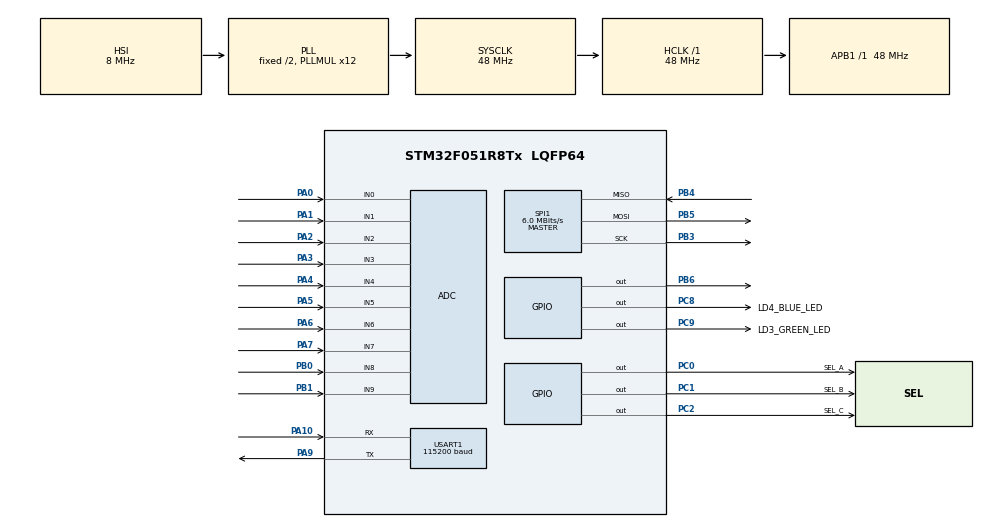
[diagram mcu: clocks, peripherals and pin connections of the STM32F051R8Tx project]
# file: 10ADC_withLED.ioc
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ADC.ClockPrescaler=ADC_CLOCK_ASYNC_DIV1
ADC.ContinuousConvMode=ENABLE
ADC.DMAContinuousRequests=ENABLE
ADC.ExternalTrigConv=ADC_EXTERNALTRIGCONV_T1_TRGO
ADC.SamplingTime=ADC_SAMPLETIME_239CYCLES_5
Dma.ADC.0.Direction=DMA_PERIPH_TO_MEMORY
Dma.ADC.0.Instance=DMA1_Channel1
Dma.ADC.0.MemDataAlignment=DMA_MDATAALIGN_HALFWORD
Dma.ADC.0.MemInc=DMA_MINC_ENABLE
Dma.ADC.0.Mode=DMA_CIRCULAR
Dma.ADC.0.PeriphDataAlignment=DMA_PDATAALIGN_HALFWORD
Dma.ADC.0.PeriphInc=DMA_PINC_DISABLE
Dma.ADC.0.Priority=DMA_PRIORITY_LOW
Dma.Request0=ADC
FATFS._MAX_SS=512
FATFS._USE_LFN=1
Mcu.Family=STM32F0
Mcu.Name=STM32F051R8Tx
Mcu.Package=LQFP64
NVIC.DMA1_Channel1_IRQn=true\:0\:0\:false\:false\:true\:false\:true
NVIC.USART1_IRQn=true\:0\:0\:false\:false\:true\:true\:true
PA0.Mode=IN0
PA0.Signal=ADC_IN0
PA1.Mode=IN1
PA1.Signal=ADC_IN1
PA10.Mode=Asynchronous
PA10.Signal=USART1_RX
PA13.Mode=Serial_Wire
PA13.Signal=SYS_SWDIO
PA14.Mode=Serial_Wire
PA14.Signal=SYS_SWCLK
PA2.Mode=IN2
PA2.Signal=ADC_IN2
PA3.Mode=IN3
PA3.Signal=ADC_IN3
PA4.Mode=IN4
PA4.Signal=ADC_IN4
PA5.Mode=IN5
PA5.Signal=ADC_IN5
PA6.Mode=IN6
PA6.Signal=ADC_IN6
PA7.Mode=IN7
PA7.Signal=ADC_IN7
PA9.Mode=Asynchronous
PA9.Signal=USART1_TX
PB0.Mode=IN8
PB0.Signal=ADC_IN8
PB1.Mode=IN9
PB1.Signal=ADC_IN9
PB3.Mode=Full_Duplex_Master
PB3.Signal=SPI1_SCK
PB4.Mode=Full_Duplex_Master
PB4.Signal=SPI1_MISO
PB5.Mode=Full_Duplex_Master
PB5.Signal=SPI1_MOSI
PB6.Signal=GPIO_Output
PC0.GPIO_Label=SEL_A
PC0.Signal=GPIO_Output
PC1.GPIO_Label=SEL_B
PC1.Signal=GPIO_Output
PC2.GPIO_Label=SEL_C
PC2.Signal=GPIO_Output
PC8.GPIO_Label=LD4_BLUE_LED
PC8.Signal=GPIO_Output
PC9.GPIO_Label=LD3_GREEN_LED
PC9.Signal=GPIO_Output
ProjectManager.HeapSize=0x200
ProjectManager.StackSize=0x400
ProjectManager.TargetToolchain=TrueSTUDIO
RCC.AHBFreq_Value=48000000
RCC.APB1Freq_Value=48000000
RCC.APB1TimFreq_Value=48000000
RCC.HCLKFreq_Value=48000000
RCC.PLLMUL=RCC_PLL_MUL12
RCC.SYSCLKFreq_VALUE=48000000
RCC.SYSCLKSource=RCC_SYSCLKSOURCE_PLLCLK
SPI1.BaudRatePrescaler=SPI_BAUDRATEPRESCALER_8
SPI1.CalculateBaudRate=6.0 MBits/s
SPI1.DataSize=SPI_DATASIZE_8BIT
SPI1.Direction=SPI_DIRECTION_2LINES
SPI1.Mode=SPI_MODE_MASTER
SPI1.VirtualType=VM_MASTER
TIM1.AutoReloadPreload=TIM_AUTORELOAD_PRELOAD_ENABLE
TIM1.Channel-Output\ Compare4\ No\ Output=TIM_CHANNEL_4
TIM1.Period=2-1
TIM1.Prescaler=4000-1
TIM1.TIM_MasterOutputTrigger=TIM_TRGO_UPDATE
USART1.BaudRate=115200
USART1.VirtualMode-Asynchronous=VM_ASYNC
VP_FATFS_VS_Generic.Mode=User_defined
VP_TIM1_VS_ClockSourceINT.Mode=Internal
VP_TIM1_VS_no_output4.Mode=Output Compare4 No Output
board=STM32F0DISCOVERY

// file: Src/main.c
/* USER CODE BEGIN Header */
/**
 ******************************************************************************
 * @file           : main.c
 * @brief          : Main program body
 ******************************************************************************
 * @attention
 *
 * <h2><center>&copy; Copyright (c) 2020 STMicroelectronics.
 * All rights reserved.</center></h2>
 *
 * This software component is licensed by ST under BSD 3-Clause license,
 * the "License"; You may not use this file except in compliance with the
 * License. You may obtain a copy of the License at:
 *                        opensource.org/licenses/BSD-3-Clause
 *
 *
 * This code will blink the blue led while it waits for user to press b1
 * this will trigger the adc inputs --> serial
 * BAUD RATE = 115200
 * TX --> PA9
 * RX --> PA10
 *
 * Push Button
 * PA0
 *
 * LED
 * Blue --> PC8
 * Green -> PC9
 *
 *
 * ADC
 * 1 --> PA1
 * 2 --> PA2
 * 3 --> PA3
 * 4 --> PA4
 * 5 --> PA5
 * 6 --> PA6
 * 7 --> PA7
 * 8 --> PB0
 * 9 --> PB1
 * 10 -> PC0
 *
 * SPI
 * SCK --> PB3
 * MISO -> PB4
 * MOSI -> PB5
 * CS  --> PB6
 *
 *
 * Questions to ponder:
 * - what value of Max_ss --> max sector size are needed
 * 	I cannot do 4096 --> currently at 512
 *
 *
 * Resources Used:
 * https://www.youtube.com/watch?v=spVIZO-jbxE
 *
 * new resources:
 * - https://01001000.xyz/2020-08-09-Tutorial-STM32CubeIDE-SD-card/
 * - https://github.com/kiwih/cubeide-sd-card
 *
 ******************************************************************************
 */
/* USER CODE END Header */
#include "main.h"
#include "fatfs.h"

/* USER CODE BEGIN Includes */
//#include <fatfs_sd.h>
#include <string.h>
#include <inttypes.h>
/* USER CODE END Includes */

/* USER CODE BEGIN PD */
#define SHOW_UART_WRITE 0
#define ADC_NUM_CHANNELS 10
#define ADC_PRINT_BUF_SIZE 480
#define ADC_NUM_MUX_CHANNELS 30

#define CMD_START 's'
#define CMD_CREATE_DEFAULT 'd'
#define ACK_INVALID 'e'
#define CMD_VIEW 'v'
#define CMD_HALT 'f'
#define CMD_LOAD 'l'
#define CMD_HELP 'h'

#define UART_BUF_SIZE 1
#define MSG_STR_SIZE 30
/* USER CODE END PD */

ADC_HandleTypeDef hadc;
DMA_HandleTypeDef hdma_adc;

SPI_HandleTypeDef hspi1;

TIM_HandleTypeDef htim1;

UART_HandleTypeDef huart1;

void SystemClock_Config(void);
static void MX_GPIO_Init(void);
static void MX_DMA_Init(void);
static void MX_SPI1_Init(void);
static void MX_USART1_UART_Init(void);
static void MX_ADC_Init(void);
static void MX_TIM1_Init(void);

/* USER CODE BEGIN 0 */
enum STATE {
	IDLE,
	HELPING,
	LOADING_FILE,
	LOADED,
	VIEWING,
	RUNNING,
	CREATING_FILE,
	CLOSING_FILE
};

enum STATE cur_state = IDLE;

volatile int muxState = 0;

volatile uint16_t adc_buf[ADC_NUM_CHANNELS]; //working buffer for the adc values
volatile uint16_t adc_print_buf[ADC_PRINT_BUF_SIZE]; //to current buffer for the adc values
volatile int adc_flag = 0;
volatile int adc_buf_ready = 0;
volatile int adc_print_buf_ofset = 0;

volatile int line_count = 0;
volatile int numConversions = 0;
volatile int numPrints = 0;

char RxData[UART_BUF_SIZE];

FATFS fs;          // file system
FIL fil;           // file
FRESULT fresult;   // to store the result
//char buffer[1024]; // to store data

UINT br, bw; // file read/write count

/* capacity related variables */
FATFS *pfs;
DWORD fre_clust;
uint32_t total, free_space;

volatile int bp = 0;                   //number of times button has been pressed
char str[MSG_STR_SIZE]; //string var for sending to usart

char name[9];

const MSG_WELCOME = "Begin 8 Chan ADC to Micro SD\n";

/* USER CODE END 0 */

int main(void)
{

  /* MCU Configuration--------------------------------------------------------*/

  /* Reset of all peripherals, Initializes the Flash interface and the Systick. */
  HAL_Init();

  /* Configure the system clock */
  SystemClock_Config();

  /* Initialize all configured peripherals */
  MX_GPIO_Init();
  MX_DMA_Init();
  MX_SPI1_Init();
  MX_USART1_UART_Init();
  MX_FATFS_Init();
  MX_ADC_Init();
  MX_TIM1_Init();
  /* USER CODE BEGIN 2 */

	HAL_UART_Receive_IT(&huart1, (uint8_t *) &RxData, UART_BUF_SIZE);

	send_uart("Begin 10 Chan ADC to Micro SD\n");

	// Calibrate The ADC On Power-Up For Better Accuracy
	HAL_ADCEx_Calibration_Start(&hadc);

	HAL_TIM_Base_Start_IT(&htim1);

  /* USER CODE END 2 */

  /* Infinite loop */
  /* USER CODE BEGIN WHILE */
	while (1) {
		switch (cur_state) {
		case IDLE:
			blink(1, LD4_BLUE_LED_GPIO_Port, LD4_BLUE_LED_Pin);
			break;
		case HELPING:
			//print commands
			send_uart("s\nd\nv\nf\n");
			break;
		case LOADING_FILE:
			break;
		case CREATING_FILE:
			mount_sd();
			create_file();
			fresult = f_open(&fil, name, FA_OPEN_ALWAYS | FA_WRITE); // Open the file with write access
			cur_state = LOADED;
			break;
		case LOADED:
			blink(1, LD3_GREEN_LED_GPIO_Port, LD3_GREEN_LED_Pin);
			break;
		case VIEWING:
			//todo: write function to view file preview
			cur_state = LOADED;
			break;
		case RUNNING:
			if (adc_flag == 0) {
				//restart adc collection

				// Pass (The ADC Instance, Result Buffer Address, Buffer Length)
				HAL_ADC_Start_DMA(&hadc, (uint32_t*) &adc_buf,
				ADC_NUM_CHANNELS);

				line_count = 0;

				adc_flag = 1;
			} else if (adc_buf_ready) {
				adc_buf_ready = 0;

				numPrints++;

				int temp = 0;
				//f_write(file pointer, pointer to data buffer, number of bytes to write, pointer to variable to return number of bytes written)
				fresult = f_write(&fil, adc_print_buf, ADC_PRINT_BUF_SIZE * 2,
						&temp);

				line_count += temp / (ADC_NUM_MUX_CHANNELS * 2);

				if (fresult != FR_OK) {
					sprintf(str, "main f_printf err: %d\n", fresult);
					send_uart(str);
				}
			}

			break;
		case CLOSING_FILE:

			HAL_ADC_Stop_DMA(&hadc);

			adc_flag = 0;

			/* close file */
			fresult = f_close(&fil);

			if (fresult != FR_OK) {
				sprintf(str, "main f_printf err: %d\n", fresult);
			}

			send_uart("Data Collection Halted\n\n");

			unmount_sd();

			cur_state = IDLE;

			break;
		}
	}

    /* USER CODE END WHILE */

}

void SystemClock_Config(void)
{
  RCC_OscInitTypeDef RCC_OscInitStruct = {0};
  RCC_ClkInitTypeDef RCC_ClkInitStruct = {0};
  RCC_PeriphCLKInitTypeDef PeriphClkInit = {0};

  /** Initializes the RCC Oscillators according to the specified parameters
  * in the RCC_OscInitTypeDef structure.
  */
  RCC_OscInitStruct.OscillatorType = RCC_OSCILLATORTYPE_HSI|RCC_OSCILLATORTYPE_HSI14;
  RCC_OscInitStruct.HSIState = RCC_HSI_ON;
  RCC_OscInitStruct.HSI14State = RCC_HSI14_ON;
  RCC_OscInitStruct.HSICalibrationValue = RCC_HSICALIBRATION_DEFAULT;
  RCC_OscInitStruct.HSI14CalibrationValue = 16;
  RCC_OscInitStruct.PLL.PLLState = RCC_PLL_ON;
  RCC_OscInitStruct.PLL.PLLSource = RCC_PLLSOURCE_HSI;
  RCC_OscInitStruct.PLL.PLLMUL = RCC_PLL_MUL12;
  RCC_OscInitStruct.PLL.PREDIV = RCC_PREDIV_DIV1;
  if (HAL_RCC_OscConfig(&RCC_OscInitStruct) != HAL_OK)
  {
    Error_Handler();
  }
  /** Initializes the CPU, AHB and APB buses clocks
  */
  RCC_ClkInitStruct.ClockType = RCC_CLOCKTYPE_HCLK|RCC_CLOCKTYPE_SYSCLK
                              |RCC_CLOCKTYPE_PCLK1;
  RCC_ClkInitStruct.SYSCLKSource = RCC_SYSCLKSOURCE_PLLCLK;
  RCC_ClkInitStruct.AHBCLKDivider = RCC_SYSCLK_DIV1;
  RCC_ClkInitStruct.APB1CLKDivider = RCC_HCLK_DIV1;

  if (HAL_RCC_ClockConfig(&RCC_ClkInitStruct, FLASH_LATENCY_1) != HAL_OK)
  {
    Error_Handler();
  }
  PeriphClkInit.PeriphClockSelection = RCC_PERIPHCLK_USART1;
  PeriphClkInit.Usart1ClockSelection = RCC_USART1CLKSOURCE_PCLK1;
  if (HAL_RCCEx_PeriphCLKConfig(&PeriphClkInit) != HAL_OK)
  {
    Error_Handler();
  }
}

static void MX_ADC_Init(void)
{

  ADC_ChannelConfTypeDef sConfig = {0};

  /** Configure the global features of the ADC (Clock, Resolution, Data Alignment and number of conversion)
  */
  hadc.Instance = ADC1;
  hadc.Init.ClockPrescaler = ADC_CLOCK_ASYNC_DIV1;
  hadc.Init.Resolution = ADC_RESOLUTION_12B;
  hadc.Init.DataAlign = ADC_DATAALIGN_RIGHT;
  hadc.Init.ScanConvMode = ADC_SCAN_DIRECTION_FORWARD;
  hadc.Init.EOCSelection = ADC_EOC_SINGLE_CONV;
  hadc.Init.LowPowerAutoWait = DISABLE;
  hadc.Init.LowPowerAutoPowerOff = DISABLE;
  hadc.Init.ContinuousConvMode = ENABLE;
  hadc.Init.DiscontinuousConvMode = DISABLE;
  hadc.Init.ExternalTrigConv = ADC_EXTERNALTRIGCONV_T1_TRGO;
  hadc.Init.ExternalTrigConvEdge = ADC_EXTERNALTRIGCONVEDGE_RISING;
  hadc.Init.DMAContinuousRequests = ENABLE;
  hadc.Init.Overrun = ADC_OVR_DATA_PRESERVED;
  if (HAL_ADC_Init(&hadc) != HAL_OK)
  {
    Error_Handler();
  }
  /** Configure for the selected ADC regular channel to be converted.
  */
  sConfig.Channel = ADC_CHANNEL_0;
  sConfig.Rank = ADC_RANK_CHANNEL_NUMBER;
  sConfig.SamplingTime = ADC_SAMPLETIME_239CYCLES_5;
  if (HAL_ADC_ConfigChannel(&hadc, &sConfig) != HAL_OK)
  {
    Error_Handler();
  }
  /** Configure for the selected ADC regular channel to be converted.
  */
  sConfig.Channel = ADC_CHANNEL_1;
  if (HAL_ADC_ConfigChannel(&hadc, &sConfig) != HAL_OK)
  {
    Error_Handler();
  }
  /** Configure for the selected ADC regular channel to be converted.
  */
  sConfig.Channel = ADC_CHANNEL_2;
  if (HAL_ADC_ConfigChannel(&hadc, &sConfig) != HAL_OK)
  {
    Error_Handler();
  }
  /** Configure for the selected ADC regular channel to be converted.
  */
  sConfig.Channel = ADC_CHANNEL_3;
  if (HAL_ADC_ConfigChannel(&hadc, &sConfig) != HAL_OK)
  {
    Error_Handler();
  }
  /** Configure for the selected ADC regular channel to be converted.
  */
  sConfig.Channel = ADC_CHANNEL_4;
  if (HAL_ADC_ConfigChannel(&hadc, &sConfig) != HAL_OK)
  {
    Error_Handler();
  }
  /** Configure for the selected ADC regular channel to be converted.
  */
  sConfig.Channel = ADC_CHANNEL_5;
  if (HAL_ADC_ConfigChannel(&hadc, &sConfig) != HAL_OK)
  {
    Error_Handler();
  }
  /** Configure for the selected ADC regular channel to be converted.
  */
  sConfig.Channel = ADC_CHANNEL_6;
  if (HAL_ADC_ConfigChannel(&hadc, &sConfig) != HAL_OK)
  {
    Error_Handler();
  }
  /** Configure for the selected ADC regular channel to be converted.
  */
  sConfig.Channel = ADC_CHANNEL_7;
  if (HAL_ADC_ConfigChannel(&hadc, &sConfig) != HAL_OK)
  {
    Error_Handler();
  }
  /** Configure for the selected ADC regular channel to be converted.
  */
  sConfig.Channel = ADC_CHANNEL_8;
  if (HAL_ADC_ConfigChannel(&hadc, &sConfig) != HAL_OK)
  {
    Error_Handler();
  }
  /** Configure for the selected ADC regular channel to be converted.
  */
  sConfig.Channel = ADC_CHANNEL_9;
  if (HAL_ADC_ConfigChannel(&hadc, &sConfig) != HAL_OK)
  {
    Error_Handler();
  }

}

static void MX_SPI1_Init(void)
{

  /* SPI1 parameter configuration*/
  hspi1.Instance = SPI1;
  hspi1.Init.Mode = SPI_MODE_MASTER;
  hspi1.Init.Direction = SPI_DIRECTION_2LINES;
  hspi1.Init.DataSize = SPI_DATASIZE_8BIT;
  hspi1.Init.CLKPolarity = SPI_POLARITY_LOW;
  hspi1.Init.CLKPhase = SPI_PHASE_1EDGE;
  hspi1.Init.NSS = SPI_NSS_SOFT;
  hspi1.Init.BaudRatePrescaler = SPI_BAUDRATEPRESCALER_8;
  hspi1.Init.FirstBit = SPI_FIRSTBIT_MSB;
  hspi1.Init.TIMode = SPI_TIMODE_DISABLE;
  hspi1.Init.CRCCalculation = SPI_CRCCALCULATION_DISABLE;
  hspi1.Init.CRCPolynomial = 7;
  hspi1.Init.CRCLength = SPI_CRC_LENGTH_DATASIZE;
  hspi1.Init.NSSPMode = SPI_NSS_PULSE_ENABLE;
  if (HAL_SPI_Init(&hspi1) != HAL_OK)
  {
    Error_Handler();
  }

}

static void MX_TIM1_Init(void)
{

  TIM_ClockConfigTypeDef sClockSourceConfig = {0};
  TIM_MasterConfigTypeDef sMasterConfig = {0};
  TIM_OC_InitTypeDef sConfigOC = {0};
  TIM_BreakDeadTimeConfigTypeDef sBreakDeadTimeConfig = {0};

  htim1.Instance = TIM1;
  htim1.Init.Prescaler = 4000-1;
  htim1.Init.CounterMode = TIM_COUNTERMODE_UP;
  htim1.Init.Period = 2-1;
  htim1.Init.ClockDivision = TIM_CLOCKDIVISION_DIV1;
  htim1.Init.RepetitionCounter = 0;
  htim1.Init.AutoReloadPreload = TIM_AUTORELOAD_PRELOAD_ENABLE;
  if (HAL_TIM_Base_Init(&htim1) != HAL_OK)
  {
    Error_Handler();
  }
  sClockSourceConfig.ClockSource = TIM_CLOCKSOURCE_INTERNAL;
  if (HAL_TIM_ConfigClockSource(&htim1, &sClockSourceConfig) != HAL_OK)
  {
    Error_Handler();
  }
  if (HAL_TIM_OC_Init(&htim1) != HAL_OK)
  {
    Error_Handler();
  }
  sMasterConfig.MasterOutputTrigger = TIM_TRGO_UPDATE;
  sMasterConfig.MasterSlaveMode = TIM_MASTERSLAVEMODE_DISABLE;
  if (HAL_TIMEx_MasterConfigSynchronization(&htim1, &sMasterConfig) != HAL_OK)
  {
    Error_Handler();
  }
  sConfigOC.OCMode = TIM_OCMODE_TIMING;
  sConfigOC.Pulse = 0;
  sConfigOC.OCPolarity = TIM_OCPOLARITY_HIGH;
  sConfigOC.OCFastMode = TIM_OCFAST_DISABLE;
  sConfigOC.OCIdleState = TIM_OCIDLESTATE_RESET;
  sConfigOC.OCNIdleState = TIM_OCNIDLESTATE_RESET;
  if (HAL_TIM_OC_ConfigChannel(&htim1, &sConfigOC, TIM_CHANNEL_4) != HAL_OK)
  {
    Error_Handler();
  }
  sBreakDeadTimeConfig.OffStateRunMode = TIM_OSSR_DISABLE;
  sBreakDeadTimeConfig.OffStateIDLEMode = TIM_OSSI_DISABLE;
  sBreakDeadTimeConfig.LockLevel = TIM_LOCKLEVEL_OFF;
  sBreakDeadTimeConfig.DeadTime = 0;
  sBreakDeadTimeConfig.BreakState = TIM_BREAK_DISABLE;
  sBreakDeadTimeConfig.BreakPolarity = TIM_BREAKPOLARITY_HIGH;
  sBreakDeadTimeConfig.AutomaticOutput = TIM_AUTOMATICOUTPUT_DISABLE;
  if (HAL_TIMEx_ConfigBreakDeadTime(&htim1, &sBreakDeadTimeConfig) != HAL_OK)
  {
    Error_Handler();
  }

}

static void MX_USART1_UART_Init(void)
{

  huart1.Instance = USART1;
  huart1.Init.BaudRate = 115200;
  huart1.Init.WordLength = UART_WORDLENGTH_8B;
  huart1.Init.StopBits = UART_STOPBITS_1;
  huart1.Init.Parity = UART_PARITY_NONE;
  huart1.Init.Mode = UART_MODE_TX_RX;
  huart1.Init.HwFlowCtl = UART_HWCONTROL_NONE;
  huart1.Init.OverSampling = UART_OVERSAMPLING_16;
  huart1.Init.OneBitSampling = UART_ONE_BIT_SAMPLE_DISABLE;
  huart1.AdvancedInit.AdvFeatureInit = UART_ADVFEATURE_NO_INIT;
  if (HAL_UART_Init(&huart1) != HAL_OK)
  {
    Error_Handler();
  }

}

static void MX_DMA_Init(void)
{

  /* DMA controller clock enable */
  __HAL_RCC_DMA1_CLK_ENABLE();

  /* DMA interrupt init */
  /* DMA1_Channel1_IRQn interrupt configuration */
  HAL_NVIC_SetPriority(DMA1_Channel1_IRQn, 0, 0);
  HAL_NVIC_EnableIRQ(DMA1_Channel1_IRQn);

}

static void MX_GPIO_Init(void)
{
  GPIO_InitTypeDef GPIO_InitStruct = {0};

  /* GPIO Ports Clock Enable */
  __HAL_RCC_GPIOC_CLK_ENABLE();
  __HAL_RCC_GPIOA_CLK_ENABLE();
  __HAL_RCC_GPIOB_CLK_ENABLE();

  /*Configure GPIO pin Output Level */
  HAL_GPIO_WritePin(GPIOC, SEL_A_Pin|SEL_B_Pin|SEL_C_Pin|LD4_BLUE_LED_Pin
                          |LD3_GREEN_LED_Pin, GPIO_PIN_RESET);

  /*Configure GPIO pin Output Level */
  HAL_GPIO_WritePin(GPIOB, GPIO_PIN_6, GPIO_PIN_RESET);

  /*Configure GPIO pins : SEL_A_Pin SEL_B_Pin SEL_C_Pin LD4_BLUE_LED_Pin
                           LD3_GREEN_LED_Pin */
  GPIO_InitStruct.Pin = SEL_A_Pin|SEL_B_Pin|SEL_C_Pin|LD4_BLUE_LED_Pin
                          |LD3_GREEN_LED_Pin;
  GPIO_InitStruct.Mode = GPIO_MODE_OUTPUT_PP;
  GPIO_InitStruct.Pull = GPIO_NOPULL;
  GPIO_InitStruct.Speed = GPIO_SPEED_FREQ_LOW;
  HAL_GPIO_Init(GPIOC, &GPIO_InitStruct);

  /*Configure GPIO pin : PB6 */
  GPIO_InitStruct.Pin = GPIO_PIN_6;
  GPIO_InitStruct.Mode = GPIO_MODE_OUTPUT_PP;
  GPIO_InitStruct.Pull = GPIO_NOPULL;
  GPIO_InitStruct.Speed = GPIO_SPEED_FREQ_LOW;
  HAL_GPIO_Init(GPIOB, &GPIO_InitStruct);

}

/* USER CODE BEGIN 4 */

/*********************User Defined Functions********************/

/* to send the data to the uart */
void send_uart(char *string) {
	uint8_t len = strlen(string);
	HAL_UART_Transmit(&huart1, (uint8_t *) string, len, 2000); // transmit in blocking mode
}

/* to find the size of data in the buffer */
int bufsize(char *buf) {
	int i = 0;
	while (*buf++ != '\0')
		i++;
	return i;
}

void mount_sd() {
	/* Mount SD Card */
	fresult = f_mount(&fs, "", 1);
	if (fresult != FR_OK)
		send_uart("error in mounting SD CARD...\n");
	else
		send_uart("SD CARD mounted successfully...\n");
}

void read_card_details() {
	/*************** Card capacity details ********************/

	/* Check free space */
	f_getfree("", &fre_clust, &pfs);

	total = (uint32_t) ((pfs->n_fatent - 2) * pfs->csize * 0.5);
	sprintf(str, "SD CARD Total Size: \t%d\n", total);
	send_uart(str);
	bufclear();
	free_space = (uint32_t) (fre_clust * pfs->csize * 0.5);
	sprintf(str, "SD CARD Free Space: \t%d\n", free_space);
	send_uart(str);
}

void create_file() {
	/*************** Create File For Data Storage ********************/

	int fileNumber = 0;

	//check if filename exist
	sprintf(name, "F%d.bin", fileNumber);
	while (f_stat(name, NULL) == FR_OK) {
		fileNumber++;
		sprintf(name, "F%d.bin", fileNumber);
	}

	/* once filename is new create file */
	fresult = f_open(&fil, name, FA_OPEN_ALWAYS | FA_READ | FA_WRITE);

	if (fresult != FR_OK) {
		sprintf(str, "f_open err: %d\n", fresult);
	}

	/* Writing text */
	fresult = f_printf(&fil,
			"ADC0 ADC1 ADC2 ADC3 ADC4 ADC5 ADC6 ADC7 ADC8 ADC9\n");

	if (fresult != FR_OK) {
		sprintf(str, "f_printf err: %d\n", fresult);
	}

	/* Close file */
	fresult = f_close(&fil);

	if (fresult != FR_OK) {
		sprintf(str, "f_close err: %d\n", fresult);
	}

	send_uart(name); //ex: File1.bin created and is ready for data to be written

	send_uart(" created and header was written \n");
}

void unmount_sd() {
	/* Unmount SDCARD */
	fresult = f_mount(NULL, "", 1);
	if (fresult == FR_OK)
		send_uart("SD CARD UNMOUNTED successfully...\n");

	sprintf(str, "line count: %d\n", line_count);

	send_uart(str);

	sprintf(str, "conversion ct: %d\n", numConversions);

	send_uart(str);

	sprintf(str, "num prints: %d\n", numPrints);

	send_uart(str);

	//adc values buffered with dma
	sprintf(str, "dma vals: %d\n", numConversions * 10);

	send_uart(str);

	//adc vals printed in main loop
	sprintf(str, "main vals: %d\n", numPrints * ADC_PRINT_BUF_SIZE);

	send_uart(str);
}

/*Wrapper to blink LEDs*/
void blink(int num_blinks, GPIO_TypeDef* port, uint16_t pin) {
	//blink led <num_blink> times to show that data collection is initialized
	for (int i = 0; i < num_blinks * 2; i++) {
		HAL_GPIO_TogglePin(port, pin);
		HAL_Delay(100); //1000ms delay
	}
}

void HAL_ADC_ConvCpltCallback(ADC_HandleTypeDef* hadc) {
	switch (muxState) {
	case 0:
		HAL_GPIO_WritePin(SEL_A_GPIO_Port, SEL_A_Pin, GPIO_PIN_RESET);
		HAL_GPIO_WritePin(SEL_B_GPIO_Port, SEL_B_Pin, GPIO_PIN_RESET);
		muxState = 2;
		break;
	case 2:
		HAL_GPIO_WritePin(SEL_A_GPIO_Port, SEL_A_Pin, GPIO_PIN_SET);
		HAL_GPIO_WritePin(SEL_B_GPIO_Port, SEL_B_Pin, GPIO_PIN_RESET);
		muxState = 3;
		break;
	case 3:
		HAL_GPIO_WritePin(SEL_A_GPIO_Port, SEL_A_Pin, GPIO_PIN_SET);
		HAL_GPIO_WritePin(SEL_B_GPIO_Port, SEL_B_Pin, GPIO_PIN_SET);
		muxState = 0;
		break;
//	case 4: //currently implemented as synonym for case 0
//		HAL_GPIO_WritePin(SEL_A_GPIO_Port, SEL_A_Pin, GPIO_PIN_RESET);
//		HAL_GPIO_WritePin(SEL_B_GPIO_Port, SEL_B_Pin, GPIO_PIN_RESET);
//		muxState = 6;
//		break;
//	case 6: //currently implemented as synonym for case 2
//		HAL_GPIO_WritePin(SEL_A_GPIO_Port, SEL_A_Pin, GPIO_PIN_SET);
//		HAL_GPIO_WritePin(SEL_B_GPIO_Port, SEL_B_Pin, GPIO_PIN_RESET);
//		muxState = 7;
//		break;
//	case 7: //currently implemented as synonym for case 3
//		HAL_GPIO_WritePin(SEL_A_GPIO_Port, SEL_A_Pin, GPIO_PIN_SET);
//		HAL_GPIO_WritePin(SEL_B_GPIO_Port, SEL_B_Pin, GPIO_PIN_SET);
//		muxState = 0;
//		break;
	}

	int i;
	for (i = adc_print_buf_ofset; i < adc_print_buf_ofset + ADC_NUM_CHANNELS;
			i++) {
		adc_print_buf[i] = adc_buf[i - adc_print_buf_ofset]; // store the values in adc[]
	}
	adc_print_buf_ofset = i;

	if (adc_print_buf_ofset > ADC_PRINT_BUF_SIZE) {
		adc_print_buf_ofset = 0;
		adc_buf_ready = 1;
	}

	numConversions++;
}

void HAL_UART_RxCpltCallback(UART_HandleTypeDef *handle) {
	//echoback command for debugging
	HAL_UART_Transmit(&huart1, (uint8_t *) &RxData, UART_BUF_SIZE, 1000); // transmit in blocking mode
	send_uart("\n");
	HAL_UART_Receive_IT(&huart1, (uint8_t *) &RxData, UART_BUF_SIZE); //restart listening for interrupt

	int valid_cmd = 0;

	switch (cur_state) {
	case IDLE:
		if (RxData[0] == CMD_CREATE_DEFAULT) {
			valid_cmd = 1;
			cur_state = CREATING_FILE;
		} else if (RxData[1] == CMD_HELP) {
			valid_cmd = 1;
			cur_state = HELPING;
		}
		else if (RxData[0] == CMD_LOAD)
		{
			valid_cmd = 1;
			cur_state = LOADING_FILE;
		}
		break;
	case LOADED:
		if (RxData[0] == CMD_START) {
			valid_cmd = 1;
			cur_state = RUNNING;
		} else if (RxData[0] == CMD_VIEW) {
			valid_cmd = 1;
			cur_state = VIEWING;
		}
		break;
	case RUNNING:
		if (RxData[0] == CMD_HALT) {
			valid_cmd = 1;
			cur_state = CLOSING_FILE;
		}
	}

	if (!valid_cmd) //notify user of invalid command entered
	{
		char c_buff = ACK_INVALID;
		HAL_UART_Transmit(&huart1, &c_buff, 1, 1000); // transmit in blocking mode
		send_uart("\n");
	}
	}
/* USER CODE END 4 */

void Error_Handler(void)
{
}

/************************ (C) COPYRIGHT STMicroelectronics *****END OF FILE****/
